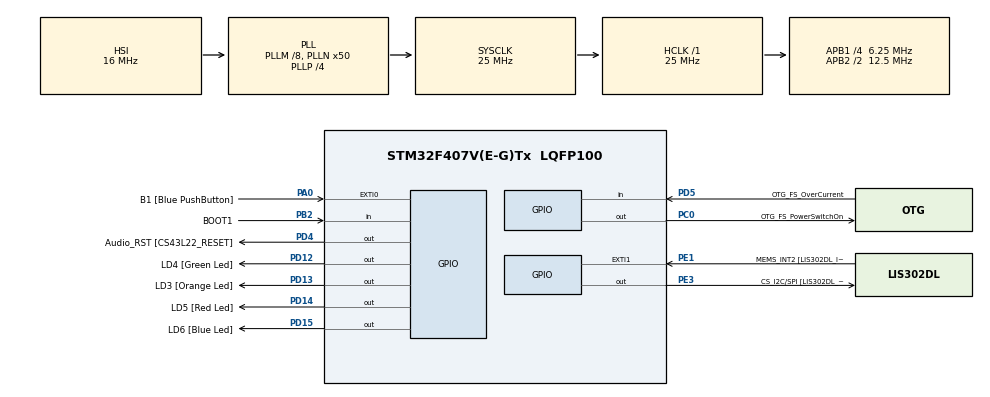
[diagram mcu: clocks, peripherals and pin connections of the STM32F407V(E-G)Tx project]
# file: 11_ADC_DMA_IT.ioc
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ADC1.Channel-0\#ChannelRegularConversion=ADC_CHANNEL_TEMPSENSOR
ADC1.Channel-1\#ChannelRegularConversion=ADC_CHANNEL_TEMPSENSOR
ADC1.ContinuousConvMode=ENABLE
ADC1.DMAContinuousRequests=ENABLE
ADC1.EOCSelection=ADC_EOC_SEQ_CONV
ADC1.NbrOfConversion=2
ADC1.NbrOfConversionFlag=1
ADC1.Rank-0\#ChannelRegularConversion=1
ADC1.Rank-1\#ChannelRegularConversion=2
ADC1.SamplingTime-0\#ChannelRegularConversion=ADC_SAMPLETIME_144CYCLES
ADC1.SamplingTime-1\#ChannelRegularConversion=ADC_SAMPLETIME_144CYCLES
ADC1.ScanConvMode=ENABLE
ADC1.master=1
Dma.ADC1.0.Direction=DMA_PERIPH_TO_MEMORY
Dma.ADC1.0.FIFOMode=DMA_FIFOMODE_DISABLE
Dma.ADC1.0.Instance=DMA2_Stream0
Dma.ADC1.0.MemDataAlignment=DMA_MDATAALIGN_HALFWORD
Dma.ADC1.0.MemInc=DMA_MINC_ENABLE
Dma.ADC1.0.Mode=DMA_CIRCULAR
Dma.ADC1.0.PeriphDataAlignment=DMA_PDATAALIGN_HALFWORD
Dma.ADC1.0.PeriphInc=DMA_PINC_DISABLE
Dma.ADC1.0.Priority=DMA_PRIORITY_LOW
Dma.Request0=ADC1
Mcu.Family=STM32F4
Mcu.Name=STM32F407V(E-G)Tx
Mcu.Package=LQFP100
NVIC.DMA2_Stream0_IRQn=true\:0\:0\:false\:false\:true\:false\:true\:true
NVIC.PriorityGroup=NVIC_PRIORITYGROUP_0
PA0-WKUP.GPIO_Label=B1 [Blue PushButton]
PA0-WKUP.Signal=GPXTI0
PA10.GPIO_Label=OTG_FS_ID
PA10.GPIO_Mode=GPIO_MODE_AF_PP
PA10.GPIO_PuPd=GPIO_NOPULL
PA10.GPIO_Speed=GPIO_SPEED_FREQ_LOW
PA10.Signal=USB_OTG_FS_ID
PA11.GPIO_Label=OTG_FS_DM
PA11.GPIO_Mode=GPIO_MODE_AF_PP
PA11.GPIO_PuPd=GPIO_NOPULL
PA11.GPIO_Speed=GPIO_SPEED_FREQ_LOW
PA11.Signal=USB_OTG_FS_DM
PA12.GPIO_Label=OTG_FS_DP
PA12.GPIO_Mode=GPIO_MODE_AF_PP
PA12.GPIO_PuPd=GPIO_NOPULL
PA12.GPIO_Speed=GPIO_SPEED_FREQ_LOW
PA12.Signal=USB_OTG_FS_DP
PA13.GPIO_Label=SWDIO
PA13.Signal=SYS_JTMS-SWDIO
PA14.GPIO_Label=SWCLK
PA14.Signal=SYS_JTCK-SWCLK
PA4.GPIO_Label=I2S3_WS [CS43L22_LRCK]
PA4.GPIO_Mode=GPIO_MODE_AF_PP
PA4.GPIO_PuPd=GPIO_NOPULL
PA4.GPIO_Speed=GPIO_SPEED_FREQ_LOW
PA4.Signal=I2S3_WS
PA5.GPIO_Label=SPI1_SCK [LIS302DL_SCL/SPC]
PA5.GPIO_Mode=GPIO_MODE_AF_PP
PA5.GPIO_PuPd=GPIO_NOPULL
PA5.GPIO_Speed=GPIO_SPEED_FREQ_LOW
PA5.Signal=SPI1_SCK
PA6.GPIO_Label=SPI1_MISO [LIS302DL_SDO]
PA6.GPIO_Mode=GPIO_MODE_AF_PP
PA6.GPIO_PuPd=GPIO_NOPULL
PA6.GPIO_Speed=GPIO_SPEED_FREQ_LOW
PA6.Signal=SPI1_MISO
PA7.GPIO_Label=SPI1_MOSI [LIS302DL_SDA/SDI/SDO]
PA7.GPIO_Mode=GPIO_MODE_AF_PP
PA7.GPIO_PuPd=GPIO_NOPULL
PA7.GPIO_Speed=GPIO_SPEED_FREQ_LOW
PA7.Signal=SPI1_MOSI
PA9.GPIO_Label=VBUS_FS
PA9.GPIO_Mode=GPIO_MODE_INPUT
PA9.GPIO_PuPd=GPIO_NOPULL
PA9.Signal=USB_OTG_FS_VBUS
PB10.GPIO_Label=CLK_IN [MP45DT02_CLK]
PB10.GPIO_Mode=GPIO_MODE_AF_PP
PB10.GPIO_PuPd=GPIO_NOPULL
PB10.GPIO_Speed=GPIO_SPEED_FREQ_LOW
PB10.Signal=I2S2_CK
PB2.GPIO_Label=BOOT1
PB2.GPIO_Mode=GPIO_MODE_INPUT
PB2.GPIO_PuPd=GPIO_NOPULL
PB2.Signal=GPIO_Input
PB3.GPIO_Label=SWO
PB3.Signal=SYS_JTDO-SWO
PB6.GPIO_Label=Audio_SCL [CS43L22_SCL]
PB6.GPIO_Mode=GPIO_MODE_AF_OD
PB6.GPIO_PuPd=GPIO_NOPULL
PB6.GPIO_Speed=GPIO_SPEED_FREQ_LOW
PB6.Signal=I2C1_SCL
PB9.GPIO_Label=Audio_SDA [CS43L22_SDA]
PB9.GPIO_Mode=GPIO_MODE_AF_OD
PB9.GPIO_PuPd=GPIO_NOPULL
PB9.GPIO_Speed=GPIO_SPEED_FREQ_LOW
PB9.Signal=I2C1_SDA
PC0.GPIO_Label=OTG_FS_PowerSwitchOn
PC0.GPIO_PuPd=GPIO_NOPULL
PC0.GPIO_Speed=GPIO_SPEED_FREQ_LOW
PC0.PinState=GPIO_PIN_SET
PC0.Signal=GPIO_Output
PC10.GPIO_Label=I2S3_SCK [CS43L22_SCLK]
PC10.GPIO_Mode=GPIO_MODE_AF_PP
PC10.GPIO_PuPd=GPIO_NOPULL
PC10.GPIO_Speed=GPIO_SPEED_FREQ_LOW
PC10.Signal=I2S3_CK
PC12.GPIO_Label=I2S3_SD [CS43L22_SDIN]
PC12.GPIO_Mode=GPIO_MODE_AF_PP
PC12.GPIO_PuPd=GPIO_NOPULL
PC12.GPIO_Speed=GPIO_SPEED_FREQ_LOW
PC12.Signal=I2S3_SD
PC14-OSC32_IN.GPIO_Label=PC14-OSC32_IN
PC14-OSC32_IN.Signal=RCC_OSC32_IN
PC15-OSC32_OUT.GPIO_Label=PC15-OSC32_OUT
PC15-OSC32_OUT.Signal=RCC_OSC32_OUT
PC3.GPIO_Label=PDM_OUT [MP45DT02_DOUT]
PC3.GPIO_Mode=GPIO_MODE_AF_PP
PC3.GPIO_PuPd=GPIO_NOPULL
PC3.GPIO_Speed=GPIO_SPEED_FREQ_LOW
PC3.Signal=I2S2_SD
PC7.GPIO_Label=I2S3_MCK [CS43L22_MCLK]
PC7.GPIO_Mode=GPIO_MODE_AF_PP
PC7.GPIO_PuPd=GPIO_NOPULL
PC7.GPIO_Speed=GPIO_SPEED_FREQ_LOW
PC7.Signal=I2S3_MCK
PD12.GPIO_Label=LD4 [Green Led]
PD12.GPIO_PuPd=GPIO_NOPULL
PD12.GPIO_Speed=GPIO_SPEED_FREQ_LOW
PD12.Signal=GPIO_Output
PD13.GPIO_Label=LD3 [Orange Led]
PD13.GPIO_PuPd=GPIO_NOPULL
PD13.GPIO_Speed=GPIO_SPEED_FREQ_LOW
PD13.Signal=GPIO_Output
PD14.GPIO_Label=LD5 [Red Led]
PD14.GPIO_PuPd=GPIO_NOPULL
PD14.GPIO_Speed=GPIO_SPEED_FREQ_LOW
PD14.Signal=GPIO_Output
PD15.GPIO_Label=LD6 [Blue Led]
PD15.GPIO_PuPd=GPIO_NOPULL
PD15.GPIO_Speed=GPIO_SPEED_FREQ_LOW
PD15.Signal=GPIO_Output
PD4.GPIO_Label=Audio_RST [CS43L22_RESET]
PD4.GPIO_PuPd=GPIO_NOPULL
PD4.GPIO_Speed=GPIO_SPEED_FREQ_LOW
PD4.Signal=GPIO_Output
PD5.GPIO_Label=OTG_FS_OverCurrent
PD5.GPIO_Mode=GPIO_MODE_INPUT
PD5.GPIO_PuPd=GPIO_NOPULL
PD5.Signal=GPIO_Input
PE1.GPIO_Label=MEMS_INT2 [LIS302DL_INT2]
PE1.GPIO_ModeDefaultEXTI=GPIO_MODE_EVT_RISING
PE1.GPIO_PuPd=GPIO_NOPULL
PE1.Signal=GPXTI1
PE3.GPIO_Label=CS_I2C/SPI [LIS302DL_CS_I2C/SPI]
PE3.GPIO_PuPd=GPIO_NOPULL
PE3.GPIO_Speed=GPIO_SPEED_FREQ_LOW
PE3.Signal=GPIO_Output
PH0-OSC_IN.GPIO_Label=PH0-OSC_IN
PH0-OSC_IN.Signal=RCC_OSC_IN
PH1-OSC_OUT.GPIO_Label=PH1-OSC_OUT
PH1-OSC_OUT.Signal=RCC_OSC_OUT
ProjectManager.HeapSize=0x200
ProjectManager.StackSize=0x400
ProjectManager.TargetToolchain=STM32CubeIDE
RCC.48MHZClocksFreq_Value=14285714.285714285
RCC.AHBFreq_Value=25000000
RCC.APB1CLKDivider=RCC_HCLK_DIV4
RCC.APB1Freq_Value=6250000
RCC.APB1TimFreq_Value=12500000
RCC.APB2CLKDivider=RCC_HCLK_DIV2
RCC.APB2Freq_Value=12500000
RCC.APB2TimFreq_Value=25000000
RCC.CortexFreq_Value=25000000
RCC.HCLKFreq_Value=25000000
RCC.HSE_VALUE=8000000
RCC.HSI_VALUE=16000000
RCC.LSE_VALUE=32768
RCC.PLLM=8
RCC.PLLN=50
RCC.PLLP=RCC_PLLP_DIV4
RCC.PLLQ=7
RCC.SYSCLKFreq_VALUE=25000000
RCC.SYSCLKSource=RCC_SYSCLKSOURCE_PLLCLK
RCC.VCOOutputFreq_Value=100000000
VP_ADC1_TempSens_Input.Mode=IN-TempSens
VP_ADC1_Vref_Input.Mode=IN-Vrefint
board=STM32F407G-DISC1

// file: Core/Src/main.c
/* USER CODE BEGIN Header */
/**
  ******************************************************************************
  * @file           : main.c
  * @brief          : Main program body
  ******************************************************************************
  * @attention
  *
  * Copyright (c) 2026 STMicroelectronics.
  * All rights reserved.
  *
  * This software is licensed under terms that can be found in the LICENSE file
  * in the root directory of this software component.
  * If no LICENSE file comes with this software, it is provided AS-IS.
  *
  ******************************************************************************
  */
/* USER CODE END Header */
#include "main.h"

/* USER CODE BEGIN PD */
/* USER CODE BEGIN PD */
#define VREFINT_CAL *((uint16_t*) 0x1FFF7A2A)
#define TS_CAL1     *((uint16_t*) 0x1FFF7A2C)
#define TS_CAL2     *((uint16_t*) 0x1FFF7A2E)

/* USER CODE END PD */

ADC_HandleTypeDef hadc1;
DMA_HandleTypeDef hdma_adc1;

/* USER CODE BEGIN PV */
uint16_t adcVal[2];
float temp;
float vdda_actual;
int flag;

/* USER CODE END PV */

void SystemClock_Config(void);
static void MX_GPIO_Init(void);
static void MX_DMA_Init(void);
static void MX_ADC1_Init(void);
/* USER CODE BEGIN PFP */

void HAL_ADC_ConvCpltCallback(ADC_HandleTypeDef *hadc)
{
    /* Prevent unused argument(s) compilation warning */
  flag=1;
  HAL_GPIO_WritePin(GPIOD,GPIO_PIN_15,GPIO_PIN_SET);
  HAL_GPIO_WritePin(GPIOD,GPIO_PIN_12,GPIO_PIN_RESET);
    /* NOTE : This function Should not be modified, when the callback is needed,
              the HAL_ADC_ConvCpltCallback could be implemented in the user file
     */
}
void HAL_ADC_ConvHalfCpltCallback(ADC_HandleTypeDef *hadc)
{
  /* Prevent unused argument(s) compilation warning */
  flag=2;  // Cevrim tamamlanmadiginda
  HAL_GPIO_WritePin(GPIOD,GPIO_PIN_12,GPIO_PIN_SET);
  HAL_GPIO_WritePin(GPIOD,GPIO_PIN_15,GPIO_PIN_RESET);

}

/* USER CODE END PFP */

int main(void)
{

  /* MCU Configuration--------------------------------------------------------*/

  /* Reset of all peripherals, Initializes the Flash interface and the Systick. */
  HAL_Init();

  /* Configure the system clock */
  SystemClock_Config();

  /* Initialize all configured peripherals */
  MX_GPIO_Init();
  MX_DMA_Init();
  MX_ADC1_Init();
  /* USER CODE BEGIN 2 */
  HAL_ADC_Start_DMA(&hadc1,(uint32_t*)adcVal,2);  // iki tane 16 bitlik veri old icin direkt adcVal 'ı 32 bit tanımlarsak
  	  	  	  	  	   // İki ayri veriyi tek veri gibi algılayabilir. Bu yüzden adcVal 16 bit tanımlar uint32_t donusumu yapilir.
  	  	  	  	  	  	 // Bu yontemle veriler daha saglıklı alınır.

  /* USER CODE END 2 */

  /* Infinite loop */
  while (1)
  {
	  if(adcVal[1]!=0 && flag==1)
	  	  {
	  		  vdda_actual = 3.3f * ((float)VREFINT_CAL / (float)adcVal[1]);

	  		          // 2. Adım: Sıcaklık ham değerini (Rank 1 -> adcVal[0]) gerçek VDDA'ya göre düzelt
	  		          float corrected_temp_data = (float)adcVal[0] * (vdda_actual / 3.3f);

	  		          // 3. Adım: Fabrika Kalibrasyonlu Formül
	  		          temp = ((110.0f - 30.0f) * (corrected_temp_data - (float)TS_CAL1)) / (float)(TS_CAL2 - TS_CAL1) + 30.0f;
	  	  }
	  	  HAL_Delay(500);

  }
}

void SystemClock_Config(void)
{
  RCC_OscInitTypeDef RCC_OscInitStruct = {0};
  RCC_ClkInitTypeDef RCC_ClkInitStruct = {0};

  /** Configure the main internal regulator output voltage
  */
  __HAL_RCC_PWR_CLK_ENABLE();
  __HAL_PWR_VOLTAGESCALING_CONFIG(PWR_REGULATOR_VOLTAGE_SCALE1);

  /** Initializes the RCC Oscillators according to the specified parameters
  * in the RCC_OscInitTypeDef structure.
  */
  RCC_OscInitStruct.OscillatorType = RCC_OSCILLATORTYPE_HSI;
  RCC_OscInitStruct.HSIState = RCC_HSI_ON;
  RCC_OscInitStruct.HSICalibrationValue = RCC_HSICALIBRATION_DEFAULT;
  RCC_OscInitStruct.PLL.PLLState = RCC_PLL_ON;
  RCC_OscInitStruct.PLL.PLLSource = RCC_PLLSOURCE_HSI;
  RCC_OscInitStruct.PLL.PLLM = 8;
  RCC_OscInitStruct.PLL.PLLN = 50;
  RCC_OscInitStruct.PLL.PLLP = RCC_PLLP_DIV4;
  RCC_OscInitStruct.PLL.PLLQ = 7;
  if (HAL_RCC_OscConfig(&RCC_OscInitStruct) != HAL_OK)
  {
    Error_Handler();
  }

  /** Initializes the CPU, AHB and APB buses clocks
  */
  RCC_ClkInitStruct.ClockType = RCC_CLOCKTYPE_HCLK|RCC_CLOCKTYPE_SYSCLK
                              |RCC_CLOCKTYPE_PCLK1|RCC_CLOCKTYPE_PCLK2;
  RCC_ClkInitStruct.SYSCLKSource = RCC_SYSCLKSOURCE_PLLCLK;
  RCC_ClkInitStruct.AHBCLKDivider = RCC_SYSCLK_DIV1;
  RCC_ClkInitStruct.APB1CLKDivider = RCC_HCLK_DIV4;
  RCC_ClkInitStruct.APB2CLKDivider = RCC_HCLK_DIV2;

  if (HAL_RCC_ClockConfig(&RCC_ClkInitStruct, FLASH_LATENCY_0) != HAL_OK)
  {
    Error_Handler();
  }
}

static void MX_ADC1_Init(void)
{

  ADC_ChannelConfTypeDef sConfig = {0};

  /** Configure the global features of the ADC (Clock, Resolution, Data Alignment and number of conversion)
  */
  hadc1.Instance = ADC1;
  hadc1.Init.ClockPrescaler = ADC_CLOCK_SYNC_PCLK_DIV2;
  hadc1.Init.Resolution = ADC_RESOLUTION_12B;
  hadc1.Init.ScanConvMode = ENABLE;
  hadc1.Init.ContinuousConvMode = ENABLE;
  hadc1.Init.DiscontinuousConvMode = DISABLE;
  hadc1.Init.ExternalTrigConvEdge = ADC_EXTERNALTRIGCONVEDGE_NONE;
  hadc1.Init.ExternalTrigConv = ADC_SOFTWARE_START;
  hadc1.Init.DataAlign = ADC_DATAALIGN_RIGHT;
  hadc1.Init.NbrOfConversion = 2;
  hadc1.Init.DMAContinuousRequests = ENABLE;
  hadc1.Init.EOCSelection = ADC_EOC_SEQ_CONV;
  if (HAL_ADC_Init(&hadc1) != HAL_OK)
  {
    Error_Handler();
  }

  /** Configure for the selected ADC regular channel its corresponding rank in the sequencer and its sample time.
  */
  sConfig.Channel = ADC_CHANNEL_TEMPSENSOR;
  sConfig.Rank = 1;
  sConfig.SamplingTime = ADC_SAMPLETIME_144CYCLES;
  if (HAL_ADC_ConfigChannel(&hadc1, &sConfig) != HAL_OK)
  {
    Error_Handler();
  }

  /** Configure for the selected ADC regular channel its corresponding rank in the sequencer and its sample time.
  */
  sConfig.Rank = 2;
  if (HAL_ADC_ConfigChannel(&hadc1, &sConfig) != HAL_OK)
  {
    Error_Handler();
  }

}

static void MX_DMA_Init(void)
{

  /* DMA controller clock enable */
  __HAL_RCC_DMA2_CLK_ENABLE();

  /* DMA interrupt init */
  /* DMA2_Stream0_IRQn interrupt configuration */
  HAL_NVIC_SetPriority(DMA2_Stream0_IRQn, 0, 0);
  HAL_NVIC_EnableIRQ(DMA2_Stream0_IRQn);

}

static void MX_GPIO_Init(void)
{
  GPIO_InitTypeDef GPIO_InitStruct = {0};

  /* GPIO Ports Clock Enable */
  __HAL_RCC_GPIOE_CLK_ENABLE();
  __HAL_RCC_GPIOC_CLK_ENABLE();
  __HAL_RCC_GPIOH_CLK_ENABLE();
  __HAL_RCC_GPIOA_CLK_ENABLE();
  __HAL_RCC_GPIOB_CLK_ENABLE();
  __HAL_RCC_GPIOD_CLK_ENABLE();

  /*Configure GPIO pin Output Level */
  HAL_GPIO_WritePin(CS_I2C_SPI_GPIO_Port, CS_I2C_SPI_Pin, GPIO_PIN_RESET);

  /*Configure GPIO pin Output Level */
  HAL_GPIO_WritePin(OTG_FS_PowerSwitchOn_GPIO_Port, OTG_FS_PowerSwitchOn_Pin, GPIO_PIN_SET);

  /*Configure GPIO pin Output Level */
  HAL_GPIO_WritePin(GPIOD, LD4_Pin|LD3_Pin|LD5_Pin|LD6_Pin
                          |Audio_RST_Pin, GPIO_PIN_RESET);

  /*Configure GPIO pin : CS_I2C_SPI_Pin */
  GPIO_InitStruct.Pin = CS_I2C_SPI_Pin;
  GPIO_InitStruct.Mode = GPIO_MODE_OUTPUT_PP;
  GPIO_InitStruct.Pull = GPIO_NOPULL;
  GPIO_InitStruct.Speed = GPIO_SPEED_FREQ_LOW;
  HAL_GPIO_Init(CS_I2C_SPI_GPIO_Port, &GPIO_InitStruct);

  /*Configure GPIO pin : OTG_FS_PowerSwitchOn_Pin */
  GPIO_InitStruct.Pin = OTG_FS_PowerSwitchOn_Pin;
  GPIO_InitStruct.Mode = GPIO_MODE_OUTPUT_PP;
  GPIO_InitStruct.Pull = GPIO_NOPULL;
  GPIO_InitStruct.Speed = GPIO_SPEED_FREQ_LOW;
  HAL_GPIO_Init(OTG_FS_PowerSwitchOn_GPIO_Port, &GPIO_InitStruct);

  /*Configure GPIO pin : PDM_OUT_Pin */
  GPIO_InitStruct.Pin = PDM_OUT_Pin;
  GPIO_InitStruct.Mode = GPIO_MODE_AF_PP;
  GPIO_InitStruct.Pull = GPIO_NOPULL;
  GPIO_InitStruct.Speed = GPIO_SPEED_FREQ_LOW;
  GPIO_InitStruct.Alternate = GPIO_AF5_SPI2;
  HAL_GPIO_Init(PDM_OUT_GPIO_Port, &GPIO_InitStruct);

  /*Configure GPIO pin : B1_Pin */
  GPIO_InitStruct.Pin = B1_Pin;
  GPIO_InitStruct.Mode = GPIO_MODE_IT_RISING;
  GPIO_InitStruct.Pull = GPIO_NOPULL;
  HAL_GPIO_Init(B1_GPIO_Port, &GPIO_InitStruct);

  /*Configure GPIO pin : I2S3_WS_Pin */
  GPIO_InitStruct.Pin = I2S3_WS_Pin;
  GPIO_InitStruct.Mode = GPIO_MODE_AF_PP;
  GPIO_InitStruct.Pull = GPIO_NOPULL;
  GPIO_InitStruct.Speed = GPIO_SPEED_FREQ_LOW;
  GPIO_InitStruct.Alternate = GPIO_AF6_SPI3;
  HAL_GPIO_Init(I2S3_WS_GPIO_Port, &GPIO_InitStruct);

  /*Configure GPIO pins : SPI1_SCK_Pin SPI1_MISO_Pin SPI1_MOSI_Pin */
  GPIO_InitStruct.Pin = SPI1_SCK_Pin|SPI1_MISO_Pin|SPI1_MOSI_Pin;
  GPIO_InitStruct.Mode = GPIO_MODE_AF_PP;
  GPIO_InitStruct.Pull = GPIO_NOPULL;
  GPIO_InitStruct.Speed = GPIO_SPEED_FREQ_LOW;
  GPIO_InitStruct.Alternate = GPIO_AF5_SPI1;
  HAL_GPIO_Init(GPIOA, &GPIO_InitStruct);

  /*Configure GPIO pin : BOOT1_Pin */
  GPIO_InitStruct.Pin = BOOT1_Pin;
  GPIO_InitStruct.Mode = GPIO_MODE_INPUT;
  GPIO_InitStruct.Pull = GPIO_NOPULL;
  HAL_GPIO_Init(BOOT1_GPIO_Port, &GPIO_InitStruct);

  /*Configure GPIO pin : CLK_IN_Pin */
  GPIO_InitStruct.Pin = CLK_IN_Pin;
  GPIO_InitStruct.Mode = GPIO_MODE_AF_PP;
  GPIO_InitStruct.Pull = GPIO_NOPULL;
  GPIO_InitStruct.Speed = GPIO_SPEED_FREQ_LOW;
  GPIO_InitStruct.Alternate = GPIO_AF5_SPI2;
  HAL_GPIO_Init(CLK_IN_GPIO_Port, &GPIO_InitStruct);

  /*Configure GPIO pins : LD4_Pin LD3_Pin LD5_Pin LD6_Pin
                           Audio_RST_Pin */
  GPIO_InitStruct.Pin = LD4_Pin|LD3_Pin|LD5_Pin|LD6_Pin
                          |Audio_RST_Pin;
  GPIO_InitStruct.Mode = GPIO_MODE_OUTPUT_PP;
  GPIO_InitStruct.Pull = GPIO_NOPULL;
  GPIO_InitStruct.Speed = GPIO_SPEED_FREQ_LOW;
  HAL_GPIO_Init(GPIOD, &GPIO_InitStruct);

  /*Configure GPIO pins : I2S3_MCK_Pin I2S3_SCK_Pin I2S3_SD_Pin */
  GPIO_InitStruct.Pin = I2S3_MCK_Pin|I2S3_SCK_Pin|I2S3_SD_Pin;
  GPIO_InitStruct.Mode = GPIO_MODE_AF_PP;
  GPIO_InitStruct.Pull = GPIO_NOPULL;
  GPIO_InitStruct.Speed = GPIO_SPEED_FREQ_LOW;
  GPIO_InitStruct.Alternate = GPIO_AF6_SPI3;
  HAL_GPIO_Init(GPIOC, &GPIO_InitStruct);

  /*Configure GPIO pin : VBUS_FS_Pin */
  GPIO_InitStruct.Pin = VBUS_FS_Pin;
  GPIO_InitStruct.Mode = GPIO_MODE_INPUT;
  GPIO_InitStruct.Pull = GPIO_NOPULL;
  HAL_GPIO_Init(VBUS_FS_GPIO_Port, &GPIO_InitStruct);

  /*Configure GPIO pins : OTG_FS_ID_Pin OTG_FS_DM_Pin OTG_FS_DP_Pin */
  GPIO_InitStruct.Pin = OTG_FS_ID_Pin|OTG_FS_DM_Pin|OTG_FS_DP_Pin;
  GPIO_InitStruct.Mode = GPIO_MODE_AF_PP;
  GPIO_InitStruct.Pull = GPIO_NOPULL;
  GPIO_InitStruct.Speed = GPIO_SPEED_FREQ_LOW;
  GPIO_InitStruct.Alternate = GPIO_AF10_OTG_FS;
  HAL_GPIO_Init(GPIOA, &GPIO_InitStruct);

  /*Configure GPIO pin : OTG_FS_OverCurrent_Pin */
  GPIO_InitStruct.Pin = OTG_FS_OverCurrent_Pin;
  GPIO_InitStruct.Mode = GPIO_MODE_INPUT;
  GPIO_InitStruct.Pull = GPIO_NOPULL;
  HAL_GPIO_Init(OTG_FS_OverCurrent_GPIO_Port, &GPIO_InitStruct);

  /*Configure GPIO pins : Audio_SCL_Pin Audio_SDA_Pin */
  GPIO_InitStruct.Pin = Audio_SCL_Pin|Audio_SDA_Pin;
  GPIO_InitStruct.Mode = GPIO_MODE_AF_OD;
  GPIO_InitStruct.Pull = GPIO_NOPULL;
  GPIO_InitStruct.Speed = GPIO_SPEED_FREQ_LOW;
  GPIO_InitStruct.Alternate = GPIO_AF4_I2C1;
  HAL_GPIO_Init(GPIOB, &GPIO_InitStruct);

  /*Configure GPIO pin : MEMS_INT2_Pin */
  GPIO_InitStruct.Pin = MEMS_INT2_Pin;
  GPIO_InitStruct.Mode = GPIO_MODE_EVT_RISING;
  GPIO_InitStruct.Pull = GPIO_NOPULL;
  HAL_GPIO_Init(MEMS_INT2_GPIO_Port, &GPIO_InitStruct);

}

void Error_Handler(void)
{
  __disable_irq();
  while (1)
  {
  }
}
